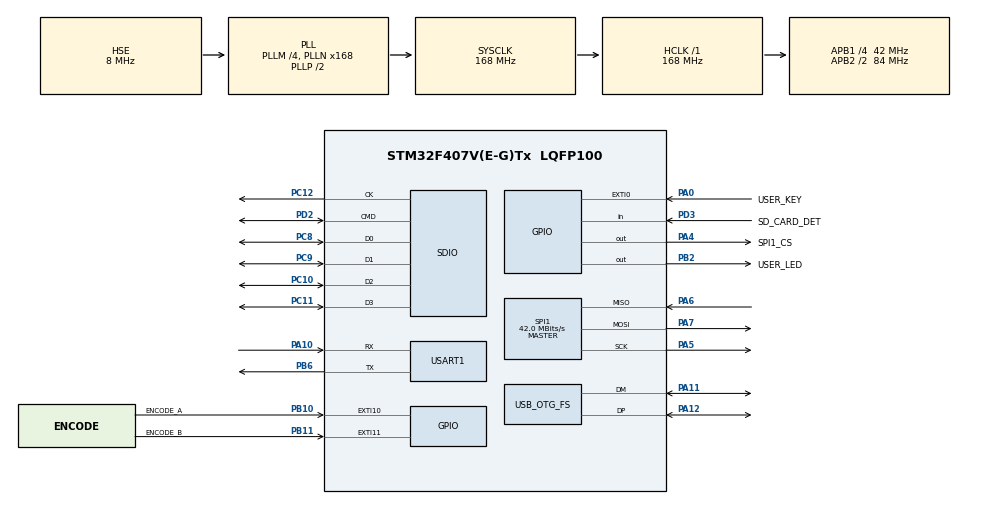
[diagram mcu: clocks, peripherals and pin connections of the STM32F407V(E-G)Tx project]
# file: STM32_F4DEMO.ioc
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Dma.Request0=SDIO_TX
Dma.Request1=SDIO_RX
Dma.Request2=USART1_RX
Dma.SDIO_RX.1.Direction=DMA_PERIPH_TO_MEMORY
Dma.SDIO_RX.1.FIFOMode=DMA_FIFOMODE_ENABLE
Dma.SDIO_RX.1.FIFOThreshold=DMA_FIFO_THRESHOLD_FULL
Dma.SDIO_RX.1.Instance=DMA2_Stream3
Dma.SDIO_RX.1.MemBurst=DMA_MBURST_INC4
Dma.SDIO_RX.1.MemDataAlignment=DMA_MDATAALIGN_WORD
Dma.SDIO_RX.1.MemInc=DMA_MINC_ENABLE
Dma.SDIO_RX.1.Mode=DMA_PFCTRL
Dma.SDIO_RX.1.PeriphBurst=DMA_PBURST_INC4
Dma.SDIO_RX.1.PeriphDataAlignment=DMA_PDATAALIGN_WORD
Dma.SDIO_RX.1.PeriphInc=DMA_PINC_DISABLE
Dma.SDIO_RX.1.Priority=DMA_PRIORITY_LOW
Dma.SDIO_TX.0.Direction=DMA_MEMORY_TO_PERIPH
Dma.SDIO_TX.0.FIFOMode=DMA_FIFOMODE_ENABLE
Dma.SDIO_TX.0.FIFOThreshold=DMA_FIFO_THRESHOLD_FULL
Dma.SDIO_TX.0.Instance=DMA2_Stream6
Dma.SDIO_TX.0.MemBurst=DMA_MBURST_INC4
Dma.SDIO_TX.0.MemDataAlignment=DMA_MDATAALIGN_WORD
Dma.SDIO_TX.0.MemInc=DMA_MINC_ENABLE
Dma.SDIO_TX.0.Mode=DMA_PFCTRL
Dma.SDIO_TX.0.PeriphBurst=DMA_PBURST_INC4
Dma.SDIO_TX.0.PeriphDataAlignment=DMA_PDATAALIGN_WORD
Dma.SDIO_TX.0.PeriphInc=DMA_PINC_DISABLE
Dma.SDIO_TX.0.Priority=DMA_PRIORITY_LOW
Dma.USART1_RX.2.Direction=DMA_PERIPH_TO_MEMORY
Dma.USART1_RX.2.FIFOMode=DMA_FIFOMODE_DISABLE
Dma.USART1_RX.2.Instance=DMA2_Stream2
Dma.USART1_RX.2.MemDataAlignment=DMA_MDATAALIGN_BYTE
Dma.USART1_RX.2.MemInc=DMA_MINC_ENABLE
Dma.USART1_RX.2.Mode=DMA_NORMAL
Dma.USART1_RX.2.PeriphDataAlignment=DMA_PDATAALIGN_BYTE
Dma.USART1_RX.2.PeriphInc=DMA_PINC_DISABLE
Dma.USART1_RX.2.Priority=DMA_PRIORITY_LOW
FATFS.BSP.number=1
FATFS.USE_DMA_CODE_SD=1
FATFS._CODE_PAGE=936
FATFS._FS_MINIMIZE=0
FATFS0.BSP.STBoard=false
FATFS0.BSP.api=Unknown
FATFS0.BSP.instance=PD3
FATFS0.BSP.ip=GPIO
FATFS0.BSP.mode=Input
FATFS0.BSP.name=Detect_SDIO
FATFS0.BSP.solution=PD3
Mcu.Family=STM32F4
Mcu.Name=STM32F407V(E-G)Tx
Mcu.Package=LQFP100
NVIC.DMA2_Stream2_IRQn=true\:0\:0\:false\:false\:true\:false\:true\:true
NVIC.DMA2_Stream3_IRQn=true\:0\:0\:false\:false\:true\:false\:true\:true
NVIC.DMA2_Stream6_IRQn=true\:0\:0\:false\:false\:true\:false\:true\:true
NVIC.EXTI0_IRQn=true\:0\:0\:false\:false\:true\:true\:true\:true
NVIC.EXTI15_10_IRQn=true\:1\:0\:true\:false\:true\:true\:true\:true
NVIC.OTG_FS_IRQn=true\:0\:0\:false\:false\:true\:true\:true\:true
NVIC.PriorityGroup=NVIC_PRIORITYGROUP_4
NVIC.TIM7_IRQn=true\:2\:0\:true\:false\:true\:true\:true\:true
NVIC.USART1_IRQn=true\:0\:0\:false\:false\:true\:true\:true\:true
PA0-WKUP.GPIO_Label=USER_KEY
PA0-WKUP.GPIO_PuPd=GPIO_PULLUP
PA0-WKUP.Signal=GPXTI0
PA10.Mode=Asynchronous
PA10.Signal=USART1_RX
PA11.Mode=Host_Only
PA11.Signal=USB_OTG_FS_DM
PA12.Mode=Host_Only
PA12.Signal=USB_OTG_FS_DP
PA13.Mode=Serial_Wire
PA13.Signal=SYS_JTMS-SWDIO
PA14.Mode=Serial_Wire
PA14.Signal=SYS_JTCK-SWCLK
PA4.GPIO_Label=SPI1_CS
PA4.Signal=GPIO_Output
PA5.Mode=Full_Duplex_Master
PA5.Signal=SPI1_SCK
PA6.Mode=Full_Duplex_Master
PA6.Signal=SPI1_MISO
PA7.Mode=Full_Duplex_Master
PA7.Signal=SPI1_MOSI
PB10.GPIO_Label=ENCODE_A
PB10.GPIO_ModeDefaultEXTI=GPIO_MODE_IT_FALLING
PB10.GPIO_PuPd=GPIO_PULLDOWN
PB10.Signal=GPXTI10
PB11.GPIO_Label=ENCODE_B
PB11.GPIO_ModeDefaultEXTI=GPIO_MODE_IT_FALLING
PB11.GPIO_PuPd=GPIO_NOPULL
PB11.Signal=GPXTI11
PB2.GPIO_Label=USER_LED
PB2.Signal=GPIO_Output
PB6.Mode=Asynchronous
PB6.Signal=USART1_TX
PC10.Mode=SD_4_bits_Wide_bus
PC10.Signal=SDIO_D2
PC11.Mode=SD_4_bits_Wide_bus
PC11.Signal=SDIO_D3
PC12.Mode=SD_4_bits_Wide_bus
PC12.Signal=SDIO_CK
PC8.Mode=SD_4_bits_Wide_bus
PC8.Signal=SDIO_D0
PC9.Mode=SD_4_bits_Wide_bus
PC9.Signal=SDIO_D1
PD2.Mode=SD_4_bits_Wide_bus
PD2.Signal=SDIO_CMD
PD3.GPIO_Label=SD_CARD_DET
PD3.Signal=GPIO_Input
PH0-OSC_IN.Mode=HSE-External-Oscillator
PH0-OSC_IN.Signal=RCC_OSC_IN
PH1-OSC_OUT.Mode=HSE-External-Oscillator
PH1-OSC_OUT.Signal=RCC_OSC_OUT
ProjectManager.HeapSize=0x200
ProjectManager.StackSize=0x400
ProjectManager.TargetToolchain=MDK-ARM V5
RCC.48MHZClocksFreq_Value=48000000
RCC.AHBFreq_Value=168000000
RCC.APB1CLKDivider=RCC_HCLK_DIV4
RCC.APB1Freq_Value=42000000
RCC.APB1TimFreq_Value=84000000
RCC.APB2CLKDivider=RCC_HCLK_DIV2
RCC.APB2Freq_Value=84000000
RCC.APB2TimFreq_Value=168000000
RCC.CortexFreq_Value=168000000
RCC.HCLKFreq_Value=168000000
RCC.HSE_VALUE=8000000
RCC.HSI_VALUE=16000000
RCC.LSE_VALUE=32768
RCC.PLLM=4
RCC.PLLN=168
RCC.PLLQ=7
RCC.SYSCLKFreq_VALUE=168000000
RCC.SYSCLKSource=RCC_SYSCLKSOURCE_PLLCLK
RCC.VCOOutputFreq_Value=336000000
SDIO.ClockDiv=4
SPI1.BaudRatePrescaler=SPI_BAUDRATEPRESCALER_2
SPI1.CalculateBaudRate=42.0 MBits/s
SPI1.Direction=SPI_DIRECTION_2LINES
SPI1.Mode=SPI_MODE_MASTER
SPI1.VirtualType=VM_MASTER
TIM7.Period=999
TIM7.Prescaler=82
USART1.VirtualMode=VM_ASYNC
USB_OTG_FS.Sof_enable=ENABLE
USB_OTG_FS.VirtualMode=Host_Only
USB_OTG_FS.phy_itface=HCD_PHY_EMBEDDED
VP_FATFS_VS_SDIO.Mode=SDIO
VP_TIM7_VS_ClockSourceINT.Mode=Enable_Timer
board=custom

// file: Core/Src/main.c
/* USER CODE BEGIN Header */
/**
  ******************************************************************************
  * @file           : main.c
  * @brief          : Main program body
  ******************************************************************************
  * @attention
  *
  * Copyright (c) 2024 STMicroelectronics.
  * All rights reserved.
  *
  * This software is licensed under terms that can be found in the LICENSE file
  * in the root directory of this software component.
  * If no LICENSE file comes with this software, it is provided AS-IS.
  *
  ******************************************************************************
  */
/* USER CODE END Header */
#include "main.h"
#include "dma.h"
#include "fatfs.h"
#include "sdio.h"
#include "spi.h"
#include "tim.h"
#include "usart.h"
#include "usb_otg.h"
#include "gpio.h"

/* USER CODE BEGIN Includes */
#include "System.h"
#include <stdio.h>
//#include "encoder.h"
/* USER CODE END Includes */

/* USER CODE BEGIN PTD */
int fputc(int ch, FILE *f)
{

    HAL_UART_Transmit(&huart1, (unsigned char *)&ch, 1, 0xFFFF);
    while (__HAL_UART_GET_FLAG(&huart1, UART_FLAG_TC) != SET)
    {
    }

    // while ((USART1->SR & 0X40) == 0);
    // USART1->DR = (uint8_t) ch;
    return ch;
}
/* USER CODE END PTD */

/* USER CODE BEGIN PV */
System_Tim_Flag systemTim = {0};
 Encoder_Class_t encoder = {
  .Hardware.A = {
      .Pin = ENCODE_A_Pin,
      .Port = ENCODE_A_GPIO_Port
  },
  .Hardware.B = {
      .Pin = ENCODE_B_Pin,
      .Port = ENCODE_B_GPIO_Port
  },
  .Hardware.Amplitude = AMPITUDE_1X,
  .Range.max = 98,
  .Range.min = 0,
};
/* USER CODE END PV */

void SystemClock_Config(void);

int main(void)
{

  /* MCU Configuration--------------------------------------------------------*/

  /* Reset of all peripherals, Initializes the Flash interface and the Systick. */
  HAL_Init();

  /* Configure the system clock */
  SystemClock_Config();

  /* Initialize all configured peripherals */
  MX_GPIO_Init();
  MX_DMA_Init();
  MX_TIM7_Init();
  MX_SPI1_Init();
  MX_USART1_UART_Init();
  MX_USB_OTG_FS_HCD_Init();
  MX_SDIO_SD_Init();
  MX_FATFS_Init();
  /* USER CODE BEGIN 2 */
  HAL_TIM_Base_Start_IT(&htim7);
    HAL_UART_Receive_DMA(&huart1, (uint8_t *)System.UART_buff, System.BUFF_SIZE);
  __HAL_UART_ENABLE_IT(&huart1, UART_IT_IDLE);
  HAL_UART_Receive_IT(&huart1, (uint8_t *)System.UART_buff, System.BUFF_SIZE);
  encoder_Init(&encoder);
  /* USER CODE END 2 */

  /* Infinite loop */
  /* USER CODE BEGIN WHILE */
  //HAL_GPIO_WritePin(USER_LED_GPIO_Port,USER_LED_Pin,GPIO_PIN_RESET);
  while (1)
  {
//	  HAL_GPIO_TogglePin(USER_LED_GPIO_Port,USER_LED_Pin);
//	  HAL_Delay(1000);
	   //HAL_GPIO_WritePin(USER_LED_GPIO_Port,USER_LED_Pin,GPIO_PIN_SET);
	  if(systemTim.system_1ms == ON)
	  {
		  encoderLoop(&encoder);
		 systemTim.system_1ms = OFF;
	  }
	  if(systemTim.system_10ms == ON)
	  {
		 systemTim.system_10ms = OFF;
		  DealWith_UART();
	  }
	  if(systemTim.system_100ms == ON)
	  {

		 systemTim.system_100ms = OFF;
	  }
	  if(systemTim.system_500ms == ON)
	  {
		  systemTim.system_500ms = OFF;
		  HAL_GPIO_TogglePin(USER_LED_GPIO_Port,USER_LED_Pin);
		  //HAL_UART_Transmit(&huart1,(uint8_t *)"LED_TRIGGER",15,HAL_MAX_DELAY);
	  }
    /* USER CODE END WHILE */

  }
}

void SystemClock_Config(void)
{
  RCC_OscInitTypeDef RCC_OscInitStruct = {0};
  RCC_ClkInitTypeDef RCC_ClkInitStruct = {0};

  /** Configure the main internal regulator output voltage
  */
  __HAL_RCC_PWR_CLK_ENABLE();
  __HAL_PWR_VOLTAGESCALING_CONFIG(PWR_REGULATOR_VOLTAGE_SCALE1);

  /** Initializes the RCC Oscillators according to the specified parameters
  * in the RCC_OscInitTypeDef structure.
  */
  RCC_OscInitStruct.OscillatorType = RCC_OSCILLATORTYPE_HSE;
  RCC_OscInitStruct.HSEState = RCC_HSE_ON;
  RCC_OscInitStruct.PLL.PLLState = RCC_PLL_ON;
  RCC_OscInitStruct.PLL.PLLSource = RCC_PLLSOURCE_HSE;
  RCC_OscInitStruct.PLL.PLLM = 4;
  RCC_OscInitStruct.PLL.PLLN = 168;
  RCC_OscInitStruct.PLL.PLLP = RCC_PLLP_DIV2;
  RCC_OscInitStruct.PLL.PLLQ = 7;
  if (HAL_RCC_OscConfig(&RCC_OscInitStruct) != HAL_OK)
  {
    Error_Handler();
  }

  /** Initializes the CPU, AHB and APB buses clocks
  */
  RCC_ClkInitStruct.ClockType = RCC_CLOCKTYPE_HCLK|RCC_CLOCKTYPE_SYSCLK
                              |RCC_CLOCKTYPE_PCLK1|RCC_CLOCKTYPE_PCLK2;
  RCC_ClkInitStruct.SYSCLKSource = RCC_SYSCLKSOURCE_PLLCLK;
  RCC_ClkInitStruct.AHBCLKDivider = RCC_SYSCLK_DIV1;
  RCC_ClkInitStruct.APB1CLKDivider = RCC_HCLK_DIV4;
  RCC_ClkInitStruct.APB2CLKDivider = RCC_HCLK_DIV2;

  if (HAL_RCC_ClockConfig(&RCC_ClkInitStruct, FLASH_LATENCY_5) != HAL_OK)
  {
    Error_Handler();
  }
}

void Error_Handler(void)
{
  __disable_irq();
  while (1)
  {
  }
}
